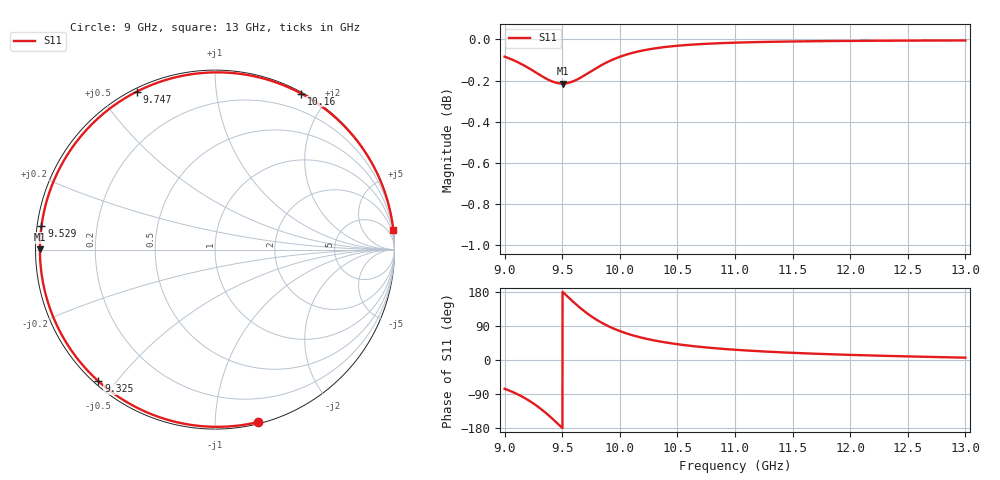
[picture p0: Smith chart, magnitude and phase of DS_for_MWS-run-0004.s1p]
! TOUCHSTONE file generated by CST DESIGN STUDIO
! Date and time: Tue Feb  4 17:11:05 2025
! Project name: C:\Work\MatlabApps\UnitCellOptimizationMatlab\CST\unitcell.cst
! Tree item: Tasks\Sweep1\SPara1\S-Parameters
! Header version: 2024
! Port assignment regex: !\s*Touchstone port\s*([0-9]+)\s*=\s*(CST MWS port|CST DES external port|CST DES block port)\s*(.+)\s* \(\"(.*)\"\)(\s*mode\s*([0-9]+))?.*
! Touchstone port assignment:
! Touchstone port 1 = CST DES external port 1 ("")
# GHz S MA R 50
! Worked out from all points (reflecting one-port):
!   4001 points, 9 GHz to 13 GHz, reference 50 ohm
!   lowest |S11| = -0.2 dB at 9.503 GHz (marker M1), VSWR 80.95, Z = 0.618 + j0.0496 ohm
!   phase of S11 starts at -76 deg and turns -278 deg over the sweep
!   S11 on the Smith chart (normalised r, x): 9 GHz: 0.01, -1.28; 9.325 GHz: 0.01, -0.45; 9.529 GHz: 0.01, +0.07; 9.747 GHz: 0.01, +0.62; 10.16 GHz: 0.01, +1.70; 13 GHz: 0, +18
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9  0.9904 -75.9
9.085  0.9882 -86.5
9.187  0.9849 -102.6
9.259  0.9822 -116.6
9.325  0.9796 -131.6
9.372  0.9779 -143.4
9.421  0.9766 -156.7
9.461  0.9759 -168.0
9.5  0.9756 -179.2
9.503  0.9756 179.9
9.529  0.9757 172.4
9.583  0.9765 157.0
9.643  0.9783 140.9
9.694  0.9801 128.2
9.747  0.9822 116.4
9.799  0.9842 106.1
9.857  0.9863 95.9
9.928  0.9885 85.4
10  0.9903 76.4
10.161  0.9933 61.1
10.315  0.9951 50.7
10.5  0.9965 41.7
10.722  0.9975 33.9
11  0.9982 27.0
11.5  0.9989 18.9
12  0.9992 13.5
12.5  0.9993 9.5
13  0.9994 6.2
